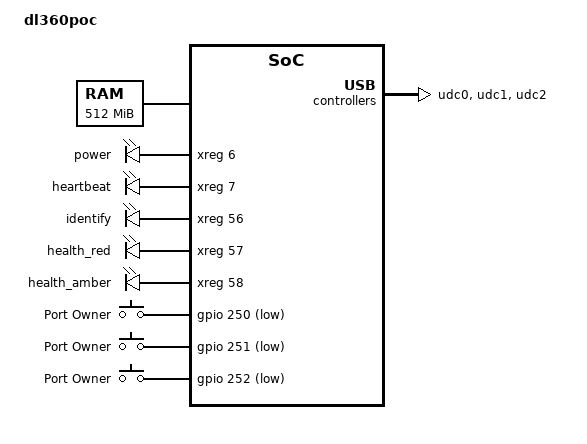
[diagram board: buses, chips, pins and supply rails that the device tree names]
/include/ "gxp.dtsi"

/ {
  #address-cells = <1>;
  #size-cells = <1>;
  compatible = "HPE,GXP";
  model = "dl360poc";

  chosen {
    bootargs = "earlyprintk console=ttyS0,115200 user_debug=31";
  };

  aliases {
    ethernet0 = &umac0;
    ethernet1 = &umac1;
  };

  memory@40000000 {
    device_type = "memory";
    reg = <0x40000000 0x20000000>;
  };

ahb {
    leds: leds {
      compatible = "gpio-leds";

      power {
        gpios = <&xreg 6 0>;
        default-state = "off";
      };

      heartbeat {
        gpios = <&xreg 7 0>;
        default-state = "off";
      };

      identify {
        gpios = <&xreg 56 0>;
        default-state = "off";
      };

      health_red {
        gpios = <&xreg 57 0>;
        default-state = "off";
      };

      health_amber {
        gpios = <&xreg 58 0>;
        default-state = "off";
      };
    };

    udc0: udc@80401000 {
      compatible = "hpe, gxp-udc";
      reg = <0x80401000 0x1000>;
      interrupts = <13>;
      interrupt-parent = <&vic1>;
      vdevnum = <0>;
      fepnum = <7>;
      udcg-handle = <&udcg>;
    };

    udc1: udc@80402000 {
      compatible = "hpe, gxp-udc";
      reg = <0x80402000 0x1000>;
      interrupts = <13>;
      interrupt-parent = <&vic1>;
      vdevnum = <1>;
      fepnum = <7>;
      udcg-handle = <&udcg>;
    };

    udc2: udc@80403000 {
      compatible = "hpe, gxp-udc";
      reg = <0x80403000 0x1000>;
      interrupts = <13>;
      interrupt-parent = <&vic1>;
      vdevnum = <2>;
      fepnum = <4>;
      udcg-handle = <&udcg>;
    };

    vuhc: vuhc {
        compatible = "gpio-keys-polled";
        poll-interval = <100>;
        PortOwner0 {
                label = "Port Owner";
               linux,code = <200>;
                gpios = <&gpio 250 1>;
              };

         PortOwner1 {
                label = "Port Owner";
                linux,code = <201>;
                gpios = <&gpio 251 1>;
        };
        PortOwner2 {
                label = "Port Owner";
                linux,code = <202>;
                gpios = <&gpio 252 1>;
        };
     };
  };
};
